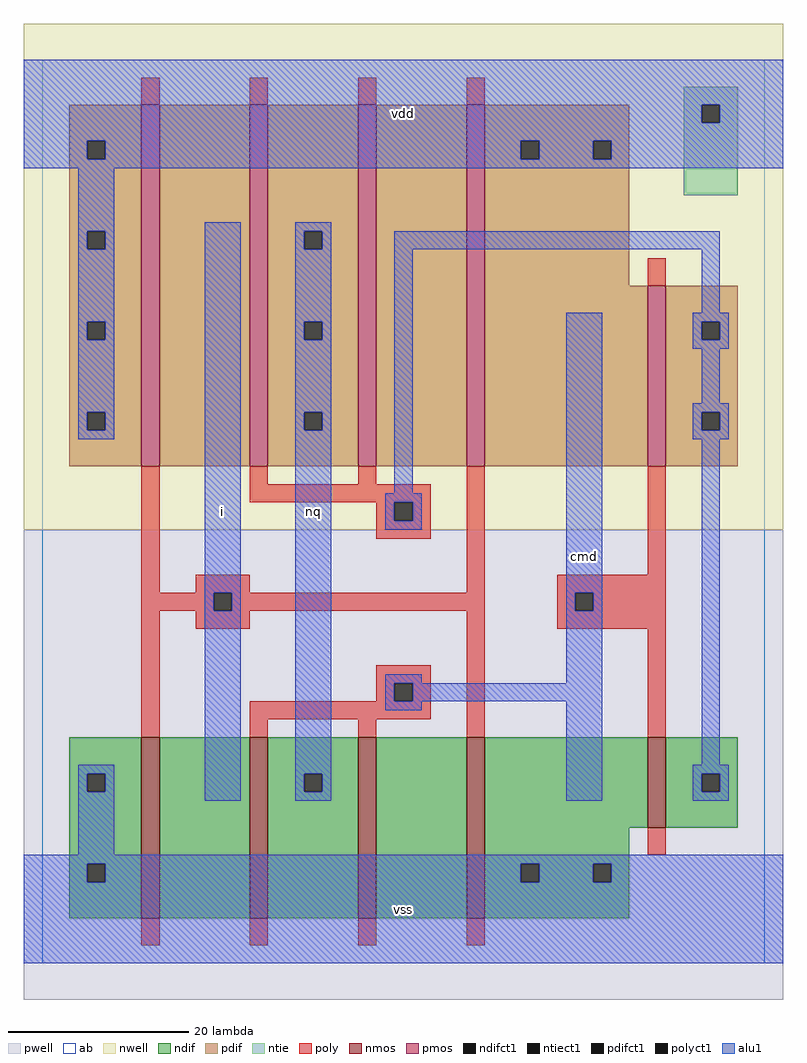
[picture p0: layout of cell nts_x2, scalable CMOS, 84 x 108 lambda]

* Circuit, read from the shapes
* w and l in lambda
.subckt nts_x2 cmd i nq vdd vss
M1 n1 i vss VSUBS nfet w=20 l=2
M2 nq cmd n1 VSUBS nfet w=20 l=2
M3 n2 cmd nq VSUBS nfet w=20 l=2
M4 vss i n2 VSUBS nfet w=20 l=2
M5 n3 cmd vss VSUBS nfet w=10 l=2
M6 n4 i vdd vdd pfet w=40 l=2
M7 nq n3 n4 vdd pfet w=40 l=2
M8 n5 n3 nq vdd pfet w=40 l=2
M9 vdd i n5 vdd pfet w=40 l=2
M10 n3 cmd vdd vdd pfet w=20 l=2
.ends

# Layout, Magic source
magic
tech scmos
<< ab >>
rect 0 0 80 100
<< nwell >>
rect -2 48 82 104
<< pwell >>
rect -2 -4 82 48
<< poly >>
rect 11 95 13 98
rect 23 95 25 98
rect 35 95 37 98
rect 47 95 49 98
rect 67 75 69 78
rect 11 41 13 55
rect 23 53 25 55
rect 35 53 37 55
rect 23 51 43 53
rect 37 49 39 51
rect 41 49 43 51
rect 37 47 43 49
rect 17 41 23 43
rect 47 41 49 55
rect 67 43 69 55
rect 11 39 19 41
rect 21 39 49 41
rect 11 25 13 39
rect 17 37 23 39
rect 37 31 43 33
rect 37 29 39 31
rect 41 29 43 31
rect 23 27 43 29
rect 23 25 25 27
rect 35 25 37 27
rect 47 25 49 39
rect 57 41 69 43
rect 57 39 59 41
rect 61 39 69 41
rect 57 37 69 39
rect 67 25 69 37
rect 67 12 69 15
rect 11 2 13 5
rect 23 2 25 5
rect 35 2 37 5
rect 47 2 49 5
<< ndif >>
rect 3 21 11 25
rect 3 19 5 21
rect 7 19 11 21
rect 3 11 11 19
rect 3 9 5 11
rect 7 9 11 11
rect 3 5 11 9
rect 13 5 23 25
rect 25 21 35 25
rect 25 19 29 21
rect 31 19 35 21
rect 25 5 35 19
rect 37 5 47 25
rect 49 15 67 25
rect 69 21 77 25
rect 69 19 73 21
rect 75 19 77 21
rect 69 15 77 19
rect 49 11 65 15
rect 49 9 53 11
rect 55 9 61 11
rect 63 9 65 11
rect 49 5 65 9
<< pdif >>
rect 3 91 11 95
rect 3 89 5 91
rect 7 89 11 91
rect 3 81 11 89
rect 3 79 5 81
rect 7 79 11 81
rect 3 71 11 79
rect 3 69 5 71
rect 7 69 11 71
rect 3 61 11 69
rect 3 59 5 61
rect 7 59 11 61
rect 3 55 11 59
rect 13 55 23 95
rect 25 81 35 95
rect 25 79 29 81
rect 31 79 35 81
rect 25 71 35 79
rect 25 69 29 71
rect 31 69 35 71
rect 25 61 35 69
rect 25 59 29 61
rect 31 59 35 61
rect 25 55 35 59
rect 37 55 47 95
rect 49 91 65 95
rect 49 89 53 91
rect 55 89 61 91
rect 63 89 65 91
rect 49 75 65 89
rect 49 55 67 75
rect 69 71 77 75
rect 69 69 73 71
rect 75 69 77 71
rect 69 61 77 69
rect 69 59 73 61
rect 75 59 77 61
rect 69 55 77 59
<< alu1 >>
rect -2 95 82 100
rect -2 93 73 95
rect 75 93 82 95
rect -2 91 82 93
rect -2 89 5 91
rect 7 89 53 91
rect 55 89 61 91
rect 63 89 82 91
rect -2 88 82 89
rect 4 81 8 88
rect 4 79 5 81
rect 7 79 8 81
rect 4 71 8 79
rect 4 69 5 71
rect 7 69 8 71
rect 4 61 8 69
rect 4 59 5 61
rect 7 59 8 61
rect 4 58 8 59
rect 18 41 22 82
rect 18 39 19 41
rect 21 39 22 41
rect 4 21 8 22
rect 4 19 5 21
rect 7 19 8 21
rect 4 12 8 19
rect 18 18 22 39
rect 28 81 32 82
rect 28 79 29 81
rect 31 79 32 81
rect 28 71 32 79
rect 28 69 29 71
rect 31 69 32 71
rect 28 61 32 69
rect 28 59 29 61
rect 31 59 32 61
rect 28 21 32 59
rect 39 79 75 81
rect 39 52 41 79
rect 73 72 75 79
rect 38 51 42 52
rect 38 49 39 51
rect 41 49 42 51
rect 38 48 42 49
rect 58 41 62 72
rect 72 71 76 72
rect 72 69 73 71
rect 75 69 76 71
rect 72 68 76 69
rect 73 62 75 68
rect 72 61 76 62
rect 72 59 73 61
rect 75 59 76 61
rect 72 58 76 59
rect 58 39 59 41
rect 61 39 62 41
rect 38 31 42 32
rect 58 31 62 39
rect 38 29 39 31
rect 41 29 62 31
rect 38 28 42 29
rect 28 19 29 21
rect 31 19 32 21
rect 28 18 32 19
rect 58 18 62 29
rect 73 22 75 58
rect 72 21 76 22
rect 72 19 73 21
rect 75 19 76 21
rect 72 18 76 19
rect -2 11 82 12
rect -2 9 5 11
rect 7 9 53 11
rect 55 9 61 11
rect 63 9 82 11
rect -2 0 82 9
<< ntie >>
rect 71 95 77 97
rect 71 93 73 95
rect 75 93 77 95
rect 71 85 77 93
<< nmos >>
rect 11 5 13 25
rect 23 5 25 25
rect 35 5 37 25
rect 47 5 49 25
rect 67 15 69 25
<< pmos >>
rect 11 55 13 95
rect 23 55 25 95
rect 35 55 37 95
rect 47 55 49 95
rect 67 55 69 75
<< polyct1 >>
rect 39 49 41 51
rect 19 39 21 41
rect 39 29 41 31
rect 59 39 61 41
<< ndifct1 >>
rect 5 19 7 21
rect 5 9 7 11
rect 29 19 31 21
rect 73 19 75 21
rect 53 9 55 11
rect 61 9 63 11
<< ntiect1 >>
rect 73 93 75 95
<< pdifct1 >>
rect 5 89 7 91
rect 5 79 7 81
rect 5 69 7 71
rect 5 59 7 61
rect 29 79 31 81
rect 29 69 31 71
rect 29 59 31 61
rect 53 89 55 91
rect 61 89 63 91
rect 73 69 75 71
rect 73 59 75 61
<< labels >>
rlabel alu1 30 50 30 50 6 nq
rlabel alu1 20 50 20 50 6 i
rlabel alu1 40 6 40 6 6 vss
rlabel alu1 40 94 40 94 6 vdd
rlabel alu1 60 45 60 45 6 cmd
<< end >>
